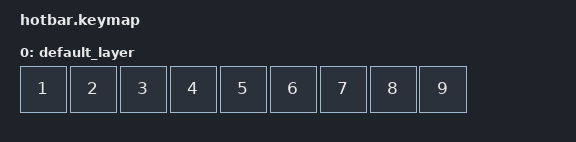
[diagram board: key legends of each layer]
// This file was generated from a template. Edit it to match your keyboard.
// See https://zmk.dev/docs/development/hardware-integration/new-shield for more instructions.

#include <behaviors.dtsi>
#include <dt-bindings/zmk/keys.h>

/ {
    // Define a default keymap here.
    // See https://zmk.dev/docs/development/hardware-integration/new-shield#default-keymap.
    keymap {
        compatible = "zmk,keymap";

        default_layer {
            bindings = <
                &kp N1 &kp N2 &kp N3 &kp N4 &kp N5 &kp N6 &kp N7 &kp N8 &kp N9
            >;
        };
    };
};
